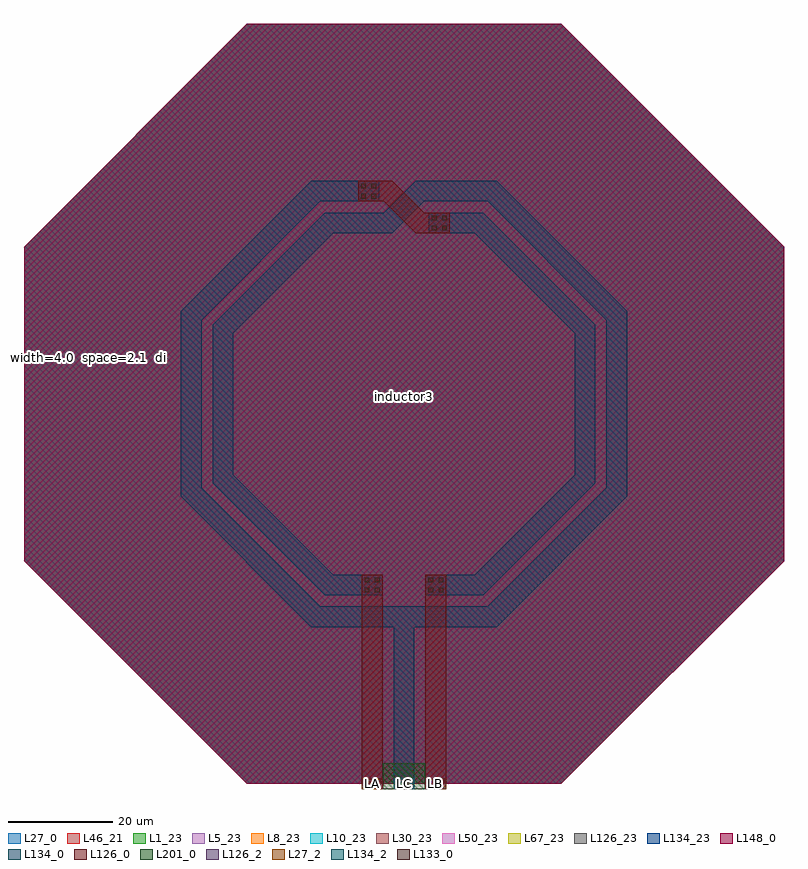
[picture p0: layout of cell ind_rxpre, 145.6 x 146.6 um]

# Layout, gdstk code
import gdstk
lib = gdstk.Library(unit=1e-6, precision=1e-09)
def R(c, l, rs):  # rectangles x0, y0, x1, y1
    for r in rs: c.add(gdstk.rectangle(r[:2], r[2:], *l))
def A(c, l, x, y, w, h, nx, ny, dx, dy):  # array of equal rectangles
    R(c, l, [(x+i*dx, y+j*dy, x+i*dx+w, y+j*dy+h) for i in range(nx) for j in range(ny)])
def P(c, l, *ps):  # polygons
    for p in ps: c.add(gdstk.Polygon(p, *l))
L1_23 = (1, 23)
L5_23 = (5, 23)
L8_23 = (8, 23)
L10_23 = (10, 23)
L27_0 = (27, 0)
L27_2 = (27, 2)
L30_23 = (30, 23)
L46_21 = (46, 21)
L50_23 = (50, 23)
L67_23 = (67, 23)
L126_0 = (126, 0)
L126_2 = (126, 2)
L126_23 = (126, 23)
L133_0 = (133, 0)
L134_0 = (134, 0)
L134_2 = (134, 2)
L134_23 = (134, 23)
L148_0 = (148, 0)
L201_0 = (201, 0)

ind_rxpre = lib.new_cell('ind_rxpre')
P(ind_rxpre, L1_23, [(-30.15,0),(-72.8,42.65),(-72.8,102.95),(-30.15,145.6),(30.15,145.6),(72.8,102.95),(72.8,42.65),(30.15,0)])
P(ind_rxpre, L5_23, [(-30.15,0),(-72.8,42.65),(-72.8,102.95),(-30.15,145.6),(30.15,145.6),(72.8,102.95),(72.8,42.65),(30.15,0)])
P(ind_rxpre, L8_23, [(-30.15,0),(-72.8,42.65),(-72.8,102.95),(-30.15,145.6),(30.15,145.6),(72.8,102.95),(72.8,42.65),(30.15,0)])
P(ind_rxpre, L10_23, [(-30.15,0),(-72.8,42.65),(-72.8,102.95),(-30.15,145.6),(30.15,145.6),(72.8,102.95),(72.8,42.65),(30.15,0)])
P(ind_rxpre, L27_0, [(-30.15,0),(-72.8,42.65),(-72.8,102.95),(-30.15,145.6),(30.15,145.6),(72.8,102.95),(72.8,42.65),(30.15,0)])
A(ind_rxpre, L27_2, -8.1, -1, 4, 2, 3, 1, 6.1, 0)
P(ind_rxpre, L30_23, [(-30.15,0),(-72.8,42.65),(-72.8,102.95),(-30.15,145.6),(30.15,145.6),(72.8,102.95),(72.8,42.65),(30.15,0)])
P(ind_rxpre, L46_21, [(-30.15,0),(-72.8,42.65),(-72.8,102.95),(-30.15,145.6),(30.15,145.6),(72.8,102.95),(72.8,42.65),(30.15,0)])
P(ind_rxpre, L50_23, [(-30.15,0),(-72.8,42.65),(-72.8,102.95),(-30.15,145.6),(30.15,145.6),(72.8,102.95),(72.8,42.65),(30.15,0)])
P(ind_rxpre, L67_23, [(-30.15,0),(-72.8,42.65),(-72.8,102.95),(-30.15,145.6),(30.15,145.6),(72.8,102.95),(72.8,42.65),(30.15,0)])
P(ind_rxpre, L126_0, [(2.245,105.46),(-3.875,111.58),(-8.765,111.58),(-8.765,115.58),(-2.245,115.58),(3.875,109.46),(8.765,109.46),(8.765,105.46)])
R(ind_rxpre, L126_2, [(-8.1,-1,-4.1,1), (-8.1,-1,-4.1,1), (4.1,-1,8.1,1), (4.1,-1,8.1,1)])
P(ind_rxpre, L126_23, [(-30.15,0),(-72.8,42.65),(-72.8,102.95),(-30.15,145.6),(30.15,145.6),(72.8,102.95),(72.8,42.65),(30.15,0)])
R(ind_rxpre, L133_0, [(-7.53,36.67,-6.63,37.57), (-5.57,36.67,-4.67,37.57), (4.67,36.67,5.57,37.57), (6.63,36.67,7.53,37.57), (-7.53,38.63,-6.63,39.53), (-5.57,38.63,-4.67,39.53), (4.67,38.63,5.57,39.53), (6.63,38.63,7.53,39.53), (5.335,106.03,6.235,106.93), (7.295,106.03,8.195,106.93), (5.335,107.99,6.235,108.89), (7.295,107.99,8.195,108.89), (-8.195,112.13,-7.295,113.03), (-6.235,112.13,-5.335,113.03), (-8.195,114.09,-7.295,114.99), (-6.235,114.09,-5.335,114.99)])
R(ind_rxpre, L134_0, [(-4.765,30,4.765,34)])
P(ind_rxpre, L134_0, [(4.1,36.1),(4.1,40.1),(13.535,40.1),(32.68,59.245),(32.68,86.315),(13.535,105.46),(4.765,105.46),(4.765,109.46),(15.2,109.46),(36.68,87.98),(36.68,57.58),(15.2,36.1)],
  [(-15.2,36.1),(-36.68,57.58),(-36.68,87.98),(-15.2,109.46),(-4.765,109.46),(-4.765,105.46),(-13.535,105.46),(-32.68,86.315),(-32.68,59.245),(-13.535,40.1),(-4.1,40.1),(-4.1,36.1)],
  [(-4.765,105.46),(-4.765,109.46),(-3.875,109.46),(2.245,115.58),(4.765,115.58),(4.765,111.58),(3.905,111.58),(-2.215,105.46)],
  [(4.765,30),(4.765,34),(16.065,34),(38.79,56.725),(38.79,88.855),(16.065,111.58),(4.765,111.58),(4.765,115.58),(17.73,115.58),(42.79,90.52),(42.79,55.06),(17.73,30)],
  [(-17.73,30),(-42.79,55.06),(-42.79,90.52),(-17.73,115.58),(-4.765,115.58),(-4.765,111.58),(-16.065,111.58),(-38.79,88.855),(-38.79,56.725),(-16.065,34),(-4.765,34),(-4.765,30)])
R(ind_rxpre, L134_2, [(-2,-1,2,1), (-2,-1,2,1)])
P(ind_rxpre, L134_23, [(-30.15,0),(-72.8,42.65),(-72.8,102.95),(-30.15,145.6),(30.15,145.6),(72.8,102.95),(72.8,42.65),(30.15,0)])
P(ind_rxpre, L148_0, [(-30.15,0),(-72.8,42.65),(-72.8,102.95),(-30.15,145.6),(30.15,145.6),(72.8,102.95),(72.8,42.65),(30.15,0)])
R(ind_rxpre, L201_0, [(-4.1,-1,4.1,4)])
ind_rxpre.add(gdstk.FlexPath([(0,-1),(0,30)], 4, ends="flush", simple_path=True, layer=134, datatype=0))  # L134_0
ind_rxpre.add(gdstk.FlexPath([(6.1,-1),(6.1,40.1)], 4, ends="flush", simple_path=True, layer=126, datatype=0))  # L126_0
ind_rxpre.add(gdstk.FlexPath([(-6.1,-1),(-6.1,40.1)], 4, ends="flush", simple_path=True, layer=126, datatype=0))  # L126_0
ind_rxpre.add(gdstk.Label('LC', (0,0), layer=27, texttype=25))
ind_rxpre.add(gdstk.Label('LB', (6.1,0), layer=27, texttype=25))
ind_rxpre.add(gdstk.Label('LA', (-6.1,0), layer=27, texttype=25))
ind_rxpre.add(gdstk.Label('inductor3', (0,74.242), layer=63, texttype=0))
ind_rxpre.add(gdstk.Label('  width=4.0\n  space=2.1\n  diameter=65.36\n  turns=2', (-72.8,81.765), layer=63, texttype=0))

lib.write_gds('ind_rxpre.gds')
